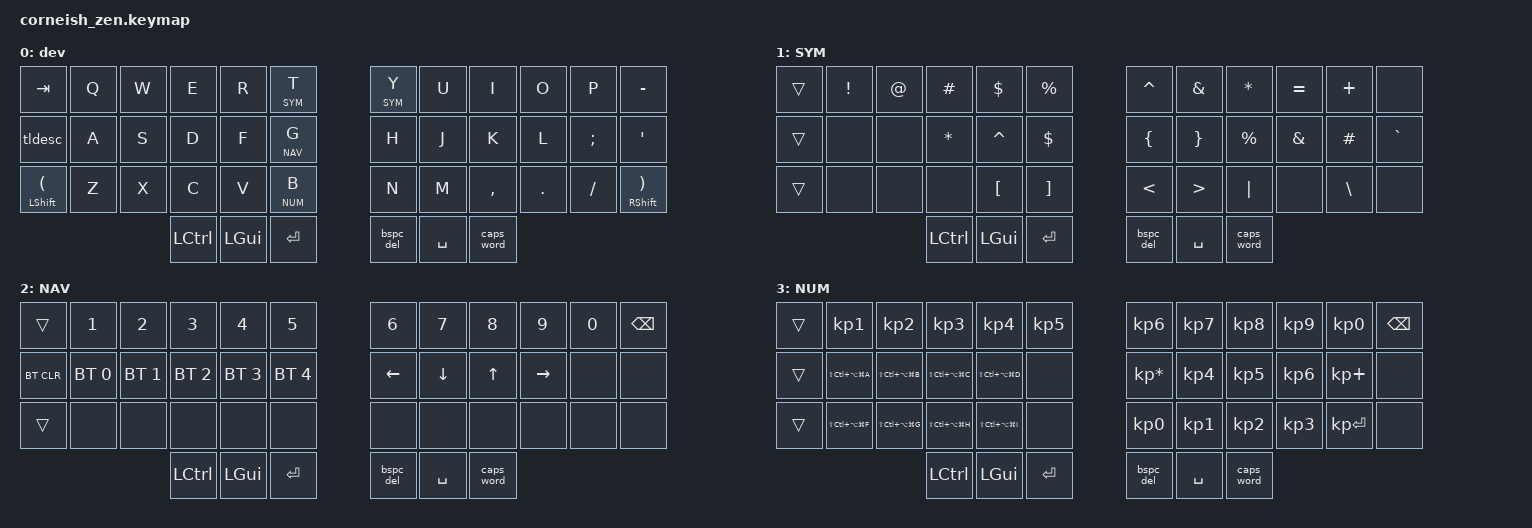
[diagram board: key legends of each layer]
/*
*
* forked_from:
*  https://github.com/ScottCJeffrey/Zen
*
* docs:
*  zmk.dev/docs
*
*/

#include <behaviors.dtsi>
#include <dt-bindings/zmk/keys.h>
#include <dt-bindings/zmk/bt.h>

/* Layers */
#define DEV 0
#define SYM 1
#define NAV 2
#define NUM 3

&caps_word {
    continue-list = <UNDERSCORE MINUS SPACE>;
};

/ {
    behaviors {
        tldesc: tilde_escape {
            compatible = "zmk,behavior-mod-morph";
            label = "TILDE_ESCAPE";
            #binding-cells = <0>;
            bindings = <&kp ESC>, <&kp TILDE>;
            mods = <(MOD_LSFT|MOD_RSFT)>;
        };

        bspc_del: backspace_delete {
            compatible = "zmk,behavior-mod-morph";
            label = "BACKSPACE_DELETE";
            #binding-cells = <0>;
            bindings = <&kp BACKSPACE>, <&kp DELETE>;
            mods = <(MOD_LSFT|MOD_RSFT)>;
            keep-mods = <(MOD_RSFT)>;
        };
    };
};

/ {
  keymap {
    compatible = "zmk,keymap";
    base_layer {
      label = "dev";
      bindings = <
        // ╭──────────────────┬──────────┬──────────┬─────────────┬────────────┬─────────────╮   ╭─────────────┬─────────────┬──────────────┬───────────┬────────────┬──────────────────╮
              &kp TAB            &kp Q      &kp W      &kp E         &kp R        &lt SYM T         &lt SYM Y     &kp U         &kp I          &kp O       &kp P        &kp MINUS 
        // ├──────────────────┼──────────┼──────────┼─────────────┼────────────┼─────────────┤   ├─────────────┼─────────────┼──────────────┼───────────┼────────────┼──────────────────┤
              &tldesc            &kp A      &kp S      &kp D         &kp F        &lt NAV G         &kp H         &kp J         &kp K          &kp L       &kp SEMI     &kp SQT         
        // ├──────────────────┼──────────┼──────────┼─────────────┼────────────┼─────────────┤   ├─────────────┼─────────────┼──────────────┼───────────┼────────────┼──────────────────┤
              &mt LSHFT LPAR     &kp Z      &kp X      &kp C         &kp V        &lt NUM B         &kp N         &kp M         &kp COMMA      &kp DOT     &kp FSLH     &mt RSHFT RPAR  
        // ╰──────────────────┴──────────┴──────────┴─────────────┼────────────┼─────────────┤   ├─────────────┼─────────────┼──────────────┴───────────┴────────────┴──────────────────╯
                                                       &kp LCTRL     &kp LGUI     &kp RET           &bspc_del     &kp SPACE     &caps_word   
        //                                          ╰─────────────┴────────────┴─────────────╯   ╰─────────────┴─────────────┴──────────────╯
      >;
    };

    sym_layer {
      label = "SYM";
      bindings = <
        // ╭──────────┬────────────┬──────────┬─────────────┬─────────────┬─────────────╮   ╭─────────────┬─────────────┬──────────────┬─────────────┬────────────┬─────────────╮
              &trans     &kp EXCL     &kp AT     &kp HASH      &kp DLLR      &kp PRCNT         &kp CARET     &kp AMPS      &kp STAR       &kp EQUAL     &kp PLUS     &none      
        // ├──────────┼────────────┼──────────┼─────────────┼─────────────┼─────────────┤   ├─────────────┼─────────────┼──────────────┼─────────────┼────────────┼─────────────┤
              &trans     &none        &none      &kp STAR      &kp CARET     &kp DLLR          &kp LBRC      &kp RBRC      &kp PRCNT      &kp AMPS      &kp HASH     &kp GRAVE   
        // ├──────────┼────────────┼──────────┼─────────────┼─────────────┼─────────────┤   ├─────────────┼─────────────┼──────────────┼─────────────┼────────────┼─────────────┤
              &trans     &none        &none      &none         &kp LBKT      &kp RBKT          &kp LT        &kp GT        &kp PIPE       &none         &kp BSLH     &none        
        // ╰──────────┴────────────┴──────────┴─────────────┼─────────────┼─────────────┤   ├─────────────┼─────────────┼──────────────┴─────────────┴────────────┴─────────────╯
                                                     &kp LCTRL     &kp LGUI      &kp RET           &bspc_del     &kp SPACE     &caps_word    
        //                                        ╰─────────────┴─────────────┴─────────────╯   ╰─────────────┴─────────────┴──────────────╯
      >;
    };

    nav_layer {
      label = "NAV";
      bindings = <
        // ╭──────────────┬────────────────┬────────────────┬────────────────┬────────────────┬────────────────╮   ╭─────────────┬────────────┬──────────────┬─────────────┬──────────┬────────────╮
              &trans         &kp N1           &kp N2           &kp N3           &kp N4           &kp N5               &kp N6        &kp N7       &kp N8         &kp N9        &kp N0     &kp BSPC
        // ├──────────────┼────────────────┼────────────────┼────────────────┼────────────────┼────────────────┤   ├─────────────┼────────────┼──────────────┼─────────────┼──────────┼────────────┤
              &bt BT_CLR     &bt BT_SEL 0     &bt BT_SEL 1     &bt BT_SEL 2     &bt BT_SEL 3     &bt BT_SEL 4         &kp LEFT      &kp DOWN     &kp UP         &kp RIGHT     &none      &none
        // ├──────────────┼────────────────┼────────────────┼────────────────┼────────────────┼────────────────┤   ├─────────────┼────────────┼──────────────┼─────────────┼──────────┼────────────┤
              &trans         &none            &none            &none            &none            &none                &none         &none        &none          &none         &none      &none
        // ╰──────────────┴────────────────┴────────────────┴────────────────┼────────────────┼────────────────┤   ├─────────────┼────────────┼──────────────┴─────────────┴──────────┴────────────╯
                                                               &kp LCTRL        &kp LGUI         &kp RET              &bspc_del     &kp SPACE    &caps_word           
        //                                                  ╰────────────────┴────────────────┴────────────────╯   ╰─────────────┴────────────┴──────────────╯
      >;
    };

    num_layer {
      label = "NUM";
      bindings = <
        // ╭────────┬───────────────────────┬───────────────────────┬───────────────────────┬───────────────────────┬───────────╮   ╭─────────────────┬───────────┬────────────┬───────────┬──────────────┬──────────╮
             &trans   &kp KP_N1               &kp KP_N2               &kp KP_N3               &kp KP_N4               &kp KP_N5       &kp KP_N6         &kp KP_N7   &kp KP_N8    &kp KP_N9   &kp KP_N0      &kp BSPC
        // ├────────┼───────────────────────┼───────────────────────┼───────────────────────┼───────────────────────┼───────────┤   ├─────────────────┼───────────┼────────────┼───────────┼──────────────┼──────────┤
             &trans   &kp LS(LC(LA(LG(A))))   &kp LS(LC(LA(LG(B))))   &kp LS(LC(LA(LG(C))))   &kp LS(LC(LA(LG(D))))   &none           &kp KP_ASTERISK   &kp KP_N4   &kp KP_N5    &kp KP_N6   &kp KP_PLUS    &none
        // ├────────┼───────────────────────┼───────────────────────┼───────────────────────┼───────────────────────┼───────────┤   ├─────────────────┼───────────┼────────────┼───────────┼──────────────┼──────────┤
             &trans   &kp LS(LC(LA(LG(F))))   &kp LS(LC(LA(LG(G))))   &kp LS(LC(LA(LG(H))))   &kp LS(LC(LA(LG(I))))   &none           &kp KP_N0         &kp KP_N1   &kp KP_N2    &kp KP_N3   &kp KP_ENTER   &none
        // ╰────────┴───────────────────────┴───────────────────────┴───────────────────────┼───────────────────────┼───────────┤   ├─────────────────┼───────────┼────────────┴───────────┴──────────────┴──────────╯
                                                                      &kp LCTRL               &kp LGUI                &kp RET         &bspc_del         &kp SPACE   &caps_word        
        //                                                          ╰───────────────────────┴───────────────────────┴───────────╯   ╰─────────────────┴───────────┴────────────╯
      >;
    };
  };
};
